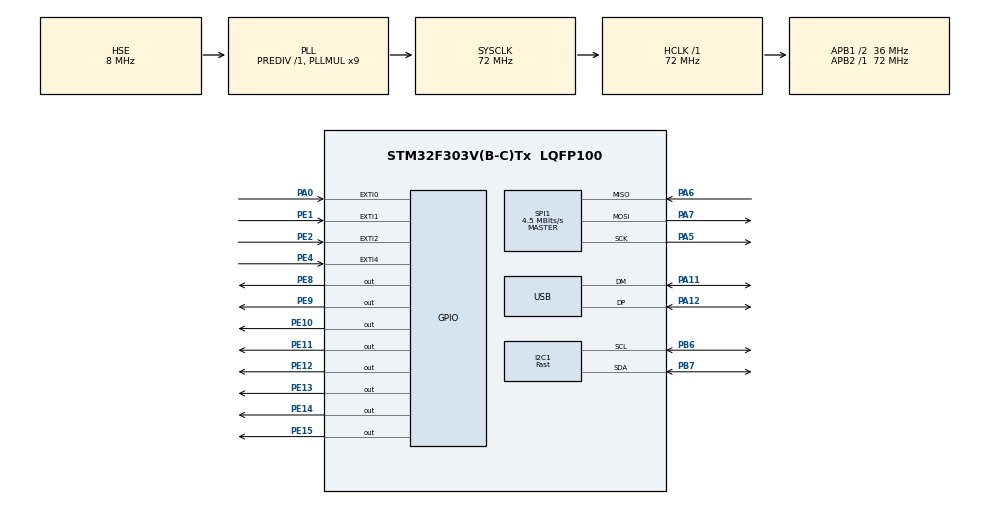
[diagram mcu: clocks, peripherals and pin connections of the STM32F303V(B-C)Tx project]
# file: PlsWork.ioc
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I2C1.I2C_Speed_Mode=I2C_Fast
I2C1.Timing=0x0010020A
Mcu.Family=STM32F3
Mcu.Name=STM32F303V(B-C)Tx
Mcu.Package=LQFP100
NVIC.EXTI0_IRQn=true\:0\:0\:false\:false\:true\:true\:true\:true
NVIC.EXTI1_IRQn=true\:0\:0\:false\:true\:true\:1\:true\:true\:true
NVIC.PriorityGroup=NVIC_PRIORITYGROUP_4
NVIC.USB_LP_CAN_RX0_IRQn=true\:0\:0\:false\:false\:true\:false\:true\:true
PA0.GPIO_ModeDefaultEXTI=GPIO_MODE_IT_FALLING
PA0.GPIO_PuPd=GPIO_PULLDOWN
PA0.Signal=GPXTI0
PA11.Mode=Device
PA11.Signal=USB_DM
PA12.Mode=Device
PA12.Signal=USB_DP
PA13.Mode=Serial_Wire
PA13.Signal=SYS_JTMS-SWDIO
PA14.Mode=Serial_Wire
PA14.Signal=SYS_JTCK-SWCLK
PA5.Mode=Full_Duplex_Master
PA5.Signal=SPI1_SCK
PA6.Mode=Full_Duplex_Master
PA6.Signal=SPI1_MISO
PA7.Mode=Full_Duplex_Master
PA7.Signal=SPI1_MOSI
PB6.Mode=I2C
PB6.Signal=I2C1_SCL
PB7.Mode=I2C
PB7.Signal=I2C1_SDA
PE1.GPIO_ModeDefaultEXTI=GPIO_MODE_IT_RISING
PE1.GPIO_PuPd=GPIO_PULLDOWN
PE1.Signal=GPXTI1
PE10.Signal=GPIO_Output
PE11.Signal=GPIO_Output
PE12.Signal=GPIO_Output
PE13.Signal=GPIO_Output
PE14.Signal=GPIO_Output
PE15.Signal=GPIO_Output
PE2.Signal=GPXTI2
PE4.Signal=GPXTI4
PE8.Signal=GPIO_Output
PE9.Signal=GPIO_Output
PF0-OSC_IN.Mode=HSE-External-Oscillator
PF0-OSC_IN.Signal=RCC_OSC_IN
PF1-OSC_OUT.Mode=HSE-External-Oscillator
PF1-OSC_OUT.Signal=RCC_OSC_OUT
ProjectManager.HeapSize=0x2000
ProjectManager.StackSize=0x4000
ProjectManager.TargetToolchain=STM32CubeIDE
RCC.AHBFreq_Value=72000000
RCC.APB1CLKDivider=RCC_HCLK_DIV2
RCC.APB1Freq_Value=36000000
RCC.APB1TimFreq_Value=72000000
RCC.APB2Freq_Value=72000000
RCC.APB2TimFreq_Value=72000000
RCC.CortexFreq_Value=72000000
RCC.HCLKFreq_Value=72000000
RCC.HSE_VALUE=8000000
RCC.HSI_VALUE=8000000
RCC.LSE_VALUE=32768
RCC.PLLMUL=RCC_PLL_MUL9
RCC.PRESCALERUSB=RCC_USBCLKSOURCE_PLL_DIV1_5
RCC.SYSCLKFreq_VALUE=72000000
RCC.SYSCLKSourceVirtual=RCC_SYSCLKSOURCE_PLLCLK
RCC.USBFreq_Value=48000000
SPI1.BaudRatePrescaler=SPI_BAUDRATEPRESCALER_16
SPI1.CalculateBaudRate=4.5 MBits/s
SPI1.DataSize=SPI_DATASIZE_8BIT
SPI1.Direction=SPI_DIRECTION_2LINES
SPI1.Mode=SPI_MODE_MASTER
SPI1.VirtualType=VM_MASTER
USB_DEVICE.CLASS_NAME_FS=HID
USB_DEVICE.VirtualMode=Hid
USB_DEVICE.VirtualModeFS=Hid_FS
VP_USB_DEVICE_VS_USB_DEVICE_HID_FS.Mode=HID_FS
board=custom

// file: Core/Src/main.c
/* USER CODE BEGIN Header */
/**
  ******************************************************************************
  * @file           : main.c
  * @brief          : Main program body
  ******************************************************************************
  * @attention
  *
  * Copyright (c) 2025 STMicroelectronics.
  * All rights reserved.
  *
  * This software is licensed under terms that can be found in the LICENSE file
  * in the root directory of this software component.
  * If no LICENSE file comes with this software, it is provided AS-IS.
  *
  ******************************************************************************
  */
/* USER CODE END Header */
#include "main.h"
#include "usb_device.h"

/* USER CODE BEGIN Includes */
/*#include "usbd_cdc_if.h"*/
#include "acselLib.h"
#include "usbd_hid.h"
/* USER CODE END Includes */

I2C_HandleTypeDef hi2c1;

SPI_HandleTypeDef hspi1;

/* USER CODE BEGIN PV */
char str1[100]={0};
int16_t AccelData[3];
int16_t GyroData[3];
float roll = 0.0, pitch = 0.0, yaw = 0.0;
int16_t min_xval = 128;
int16_t max_xval = -128;
int16_t min_yval = 128;
int16_t max_yval = -128;
int16_t newxval = 0;
int16_t newyval = 0;
uint8_t button_flag = 0;
float ax_real, ay_real, az_real, vx, vy, vz, x, y, z;
/* USER CODE END PV */

void SystemClock_Config(void);
static void MX_GPIO_Init(void);
static void MX_I2C1_Init(void);
static void MX_SPI1_Init(void);
static void MX_NVIC_Init(void);

/* USER CODE BEGIN 0 */
extern USBD_HandleTypeDef hUsbDeviceFS;

typedef struct
{
	uint8_t button;
	int8_t mouse_x;
	int8_t mouse_y;
	int8_t wheel;
} mouseHID;

mouseHID mousehid = {0,0,0,0};

/* USER CODE END 0 */

int main(void)
{

  /* MCU Configuration--------------------------------------------------------*/

  /* Reset of all peripherals, Initializes the Flash interface and the Systick. */
  HAL_Init();

  /* Configure the system clock */
  SystemClock_Config();

  /* Initialize all configured peripherals */
  MX_GPIO_Init();
  MX_I2C1_Init();
  MX_SPI1_Init();
  MX_USB_DEVICE_Init();

  /* Initialize interrupts */
  MX_NVIC_Init();
  /* USER CODE BEGIN 2 */
  Gyro_Ini();
  Accel_Ini();
  Accel_GetXYZ(AccelData);
  Gyro_GetXYZ(GyroData);
  for (int i=0; i<50; i++)
	{
	    Accel_GetXYZ(AccelData);;
		min_xval = MIN(min_xval, AccelData[0]);
		max_xval = MAX(max_xval, AccelData[0]);
		min_yval = MIN(min_yval, AccelData[1]);
		max_yval = MAX(max_yval, AccelData[1]);
		HAL_Delay (100);
	}
  /* USER CODE END 2 */

  /* Infinite loop */
  /* USER CODE BEGIN WHILE */
  while (1)
  {
	  /*
	  HAL_GPIO_WritePin(GPIOE,GPIO_PIN_11,GPIO_PIN_SET);
	  HAL_GPIO_WritePin(GPIOE,GPIO_PIN_14,GPIO_PIN_RESET);
	  sprintf(str1,"Hi");
	  CDC_Transmit_FS((uint8_t*)str1, strlen(str1));
	  HAL_Delay(500);
	  */
	  Accel_GetXYZ(AccelData);
	  Gyro_GetXYZ(GyroData);
	  GetAngles(AccelData[0],AccelData[1],AccelData[2],GyroData[0], GyroData[1], GyroData[2], &roll, &pitch, &yaw);
	  delete_gravity(AccelData[0], AccelData[1], AccelData[2], roll, pitch,&ax_real,&ay_real,&az_real);
	  integrate_position(AccelData[0], AccelData[1], AccelData[2], &vx, &vy, &vz, &x, &y, &z);
	  sprintf(str1,"X: %06d; Y: %06d; Z: %06d; \n\r", x,y,z);
	  HAL_Delay(50);
	  /*HAL_UART_Transmit(&huart1,(uint8_t*)str1, strlen(str1),0x1000);*/
	  /*CDC_Transmit_FS((uint8_t*)str1, strlen(str1));*/

	  if (AccelData[0] < min_xval)
	   {
			 newxval = AccelData[0] - min_xval;
	   }

	  else if (AccelData[0] > max_xval)
	   {
			 newxval = AccelData[0] - max_xval;
	   }

	  if (AccelData[1] < min_yval)
	  {
			newyval = AccelData[1] - min_yval;
	  }

	  else if (AccelData[1] > max_yval)
	  {
		   newyval = AccelData[1] - max_yval;
	  }

	  if ((newxval > 20) || (newxval <-20))
	  {
		   mousehid.mouse_y = (newxval/3);
	  }

	  else mousehid.mouse_y = 0;
	  if ((newyval > 20) || (newyval <-20))
	  {
		   mousehid.mouse_x= (newyval)/3;
	  }

	  else mousehid.mouse_x = 0;
	  if (button_flag==1)
	  {
		   mousehid.button = 1;
		   USBD_HID_SendReport(&hUsbDeviceFS, &mousehid, sizeof(mousehid));
		   HAL_Delay (50);
		   mousehid.button = 0;

		   USBD_HID_SendReport(&hUsbDeviceFS,&mousehid, sizeof(mousehid));
		   button_flag =0;
	  }

	  USBD_HID_SendReport(&hUsbDeviceFS,&mousehid, sizeof(mousehid));
	  HAL_Delay(10);

	  /*
	  if(AccelData[0] > 1500)
	  {
		  HAL_GPIO_WritePin(GPIOE, GPIO_PIN_11 , GPIO_PIN_SET);
	      if(AccelData[1] > 1500)
	      {
	    	  HAL_GPIO_WritePin(GPIOE, GPIO_PIN_11 , GPIO_PIN_RESET);
	    	  HAL_GPIO_WritePin(GPIOE, GPIO_PIN_12 , GPIO_PIN_SET);
	      }
	      else if(AccelData[1] < -1500)
	      {
	    	  HAL_GPIO_WritePin(GPIOE, GPIO_PIN_11 , GPIO_PIN_RESET);
	    	  HAL_GPIO_WritePin(GPIOE, GPIO_PIN_10 , GPIO_PIN_SET);
	      }
	  }
	  else if(AccelData[0] < -1500)
	  {
		  HAL_GPIO_WritePin(GPIOE, GPIO_PIN_15, GPIO_PIN_SET);
	          if(AccelData[1] > 1500)
	          {
	        	  HAL_GPIO_WritePin(GPIOE, GPIO_PIN_15, GPIO_PIN_RESET);
	        	  HAL_GPIO_WritePin(GPIOE, GPIO_PIN_14 , GPIO_PIN_SET);
	          }
	  else if(AccelData[1] < -1500)

	   {
		  HAL_GPIO_WritePin(GPIOE, GPIO_PIN_15 , GPIO_PIN_RESET);
		  HAL_GPIO_WritePin(GPIOE, GPIO_PIN_8 , GPIO_PIN_SET);
	   }
	   }
	  else
	  {
	          if(AccelData[1] > 1500)
	          {
	        	  HAL_GPIO_WritePin(GPIOE, GPIO_PIN_13 , GPIO_PIN_SET);
	          }

	          else if(AccelData[1] < -1500)
	          {
	        	  HAL_GPIO_WritePin(GPIOE, GPIO_PIN_9 , GPIO_PIN_SET);
	          }
	  }
	  HAL_Delay(500);
	  HAL_GPIO_WritePin(GPIOE, GPIO_PIN_9, GPIO_PIN_RESET);
	  HAL_GPIO_WritePin(GPIOE, GPIO_PIN_15 , GPIO_PIN_RESET);
	  HAL_GPIO_WritePin(GPIOE, GPIO_PIN_11 , GPIO_PIN_RESET);
	  HAL_GPIO_WritePin(GPIOE, GPIO_PIN_8 , GPIO_PIN_RESET);
	  HAL_GPIO_WritePin(GPIOE, GPIO_PIN_13 , GPIO_PIN_RESET);
	  HAL_GPIO_WritePin(GPIOE, GPIO_PIN_14 , GPIO_PIN_RESET);
	  HAL_GPIO_WritePin(GPIOE, GPIO_PIN_12 , GPIO_PIN_RESET);
	  HAL_GPIO_WritePin(GPIOE, GPIO_PIN_10 , GPIO_PIN_RESET);
	  */
    /* USER CODE END WHILE */

  }
}

void SystemClock_Config(void)
{
  RCC_OscInitTypeDef RCC_OscInitStruct = {0};
  RCC_ClkInitTypeDef RCC_ClkInitStruct = {0};
  RCC_PeriphCLKInitTypeDef PeriphClkInit = {0};

  /** Initializes the RCC Oscillators according to the specified parameters
  * in the RCC_OscInitTypeDef structure.
  */
  RCC_OscInitStruct.OscillatorType = RCC_OSCILLATORTYPE_HSI|RCC_OSCILLATORTYPE_HSE;
  RCC_OscInitStruct.HSEState = RCC_HSE_ON;
  RCC_OscInitStruct.HSEPredivValue = RCC_HSE_PREDIV_DIV1;
  RCC_OscInitStruct.HSIState = RCC_HSI_ON;
  RCC_OscInitStruct.HSICalibrationValue = RCC_HSICALIBRATION_DEFAULT;
  RCC_OscInitStruct.PLL.PLLState = RCC_PLL_ON;
  RCC_OscInitStruct.PLL.PLLSource = RCC_PLLSOURCE_HSE;
  RCC_OscInitStruct.PLL.PLLMUL = RCC_PLL_MUL9;
  if (HAL_RCC_OscConfig(&RCC_OscInitStruct) != HAL_OK)
  {
    Error_Handler();
  }

  /** Initializes the CPU, AHB and APB buses clocks
  */
  RCC_ClkInitStruct.ClockType = RCC_CLOCKTYPE_HCLK|RCC_CLOCKTYPE_SYSCLK
                              |RCC_CLOCKTYPE_PCLK1|RCC_CLOCKTYPE_PCLK2;
  RCC_ClkInitStruct.SYSCLKSource = RCC_SYSCLKSOURCE_PLLCLK;
  RCC_ClkInitStruct.AHBCLKDivider = RCC_SYSCLK_DIV1;
  RCC_ClkInitStruct.APB1CLKDivider = RCC_HCLK_DIV2;
  RCC_ClkInitStruct.APB2CLKDivider = RCC_HCLK_DIV1;

  if (HAL_RCC_ClockConfig(&RCC_ClkInitStruct, FLASH_LATENCY_2) != HAL_OK)
  {
    Error_Handler();
  }
  PeriphClkInit.PeriphClockSelection = RCC_PERIPHCLK_USB|RCC_PERIPHCLK_I2C1;
  PeriphClkInit.I2c1ClockSelection = RCC_I2C1CLKSOURCE_HSI;
  PeriphClkInit.USBClockSelection = RCC_USBCLKSOURCE_PLL_DIV1_5;
  if (HAL_RCCEx_PeriphCLKConfig(&PeriphClkInit) != HAL_OK)
  {
    Error_Handler();
  }
}

/**
  * @brief NVIC Configuration.
  * @retval None
  */
static void MX_NVIC_Init(void)
{
  /* EXTI1_IRQn interrupt configuration */
  HAL_NVIC_SetPriority(EXTI1_IRQn, 0, 0);
  HAL_NVIC_EnableIRQ(EXTI1_IRQn);
}

static void MX_I2C1_Init(void)
{

  hi2c1.Instance = I2C1;
  hi2c1.Init.Timing = 0x0010020A;
  hi2c1.Init.OwnAddress1 = 0;
  hi2c1.Init.AddressingMode = I2C_ADDRESSINGMODE_7BIT;
  hi2c1.Init.DualAddressMode = I2C_DUALADDRESS_DISABLE;
  hi2c1.Init.OwnAddress2 = 0;
  hi2c1.Init.OwnAddress2Masks = I2C_OA2_NOMASK;
  hi2c1.Init.GeneralCallMode = I2C_GENERALCALL_DISABLE;
  hi2c1.Init.NoStretchMode = I2C_NOSTRETCH_DISABLE;
  if (HAL_I2C_Init(&hi2c1) != HAL_OK)
  {
    Error_Handler();
  }

  /** Configure Analogue filter
  */
  if (HAL_I2CEx_ConfigAnalogFilter(&hi2c1, I2C_ANALOGFILTER_ENABLE) != HAL_OK)
  {
    Error_Handler();
  }

  /** Configure Digital filter
  */
  if (HAL_I2CEx_ConfigDigitalFilter(&hi2c1, 0) != HAL_OK)
  {
    Error_Handler();
  }

}

static void MX_SPI1_Init(void)
{

  /* SPI1 parameter configuration*/
  hspi1.Instance = SPI1;
  hspi1.Init.Mode = SPI_MODE_MASTER;
  hspi1.Init.Direction = SPI_DIRECTION_2LINES;
  hspi1.Init.DataSize = SPI_DATASIZE_8BIT;
  hspi1.Init.CLKPolarity = SPI_POLARITY_LOW;
  hspi1.Init.CLKPhase = SPI_PHASE_1EDGE;
  hspi1.Init.NSS = SPI_NSS_SOFT;
  hspi1.Init.BaudRatePrescaler = SPI_BAUDRATEPRESCALER_16;
  hspi1.Init.FirstBit = SPI_FIRSTBIT_MSB;
  hspi1.Init.TIMode = SPI_TIMODE_DISABLE;
  hspi1.Init.CRCCalculation = SPI_CRCCALCULATION_DISABLE;
  hspi1.Init.CRCPolynomial = 7;
  hspi1.Init.CRCLength = SPI_CRC_LENGTH_DATASIZE;
  hspi1.Init.NSSPMode = SPI_NSS_PULSE_ENABLE;
  if (HAL_SPI_Init(&hspi1) != HAL_OK)
  {
    Error_Handler();
  }

}

static void MX_GPIO_Init(void)
{
  GPIO_InitTypeDef GPIO_InitStruct = {0};

  /* GPIO Ports Clock Enable */
  __HAL_RCC_GPIOE_CLK_ENABLE();
  __HAL_RCC_GPIOF_CLK_ENABLE();
  __HAL_RCC_GPIOA_CLK_ENABLE();
  __HAL_RCC_GPIOB_CLK_ENABLE();

  /*Configure GPIO pin Output Level */
  HAL_GPIO_WritePin(GPIOE, GPIO_PIN_8|GPIO_PIN_9|GPIO_PIN_10|GPIO_PIN_11
                          |GPIO_PIN_12|GPIO_PIN_13|GPIO_PIN_14|GPIO_PIN_15, GPIO_PIN_RESET);

  /*Configure GPIO pins : PE2 PE4 */
  GPIO_InitStruct.Pin = GPIO_PIN_2|GPIO_PIN_4;
  GPIO_InitStruct.Mode = GPIO_MODE_IT_RISING;
  GPIO_InitStruct.Pull = GPIO_NOPULL;
  HAL_GPIO_Init(GPIOE, &GPIO_InitStruct);

  /*Configure GPIO pin : PA0 */
  GPIO_InitStruct.Pin = GPIO_PIN_0;
  GPIO_InitStruct.Mode = GPIO_MODE_IT_FALLING;
  GPIO_InitStruct.Pull = GPIO_PULLDOWN;
  HAL_GPIO_Init(GPIOA, &GPIO_InitStruct);

  /*Configure GPIO pins : PE8 PE9 PE10 PE11
                           PE12 PE13 PE14 PE15 */
  GPIO_InitStruct.Pin = GPIO_PIN_8|GPIO_PIN_9|GPIO_PIN_10|GPIO_PIN_11
                          |GPIO_PIN_12|GPIO_PIN_13|GPIO_PIN_14|GPIO_PIN_15;
  GPIO_InitStruct.Mode = GPIO_MODE_OUTPUT_PP;
  GPIO_InitStruct.Pull = GPIO_NOPULL;
  GPIO_InitStruct.Speed = GPIO_SPEED_FREQ_LOW;
  HAL_GPIO_Init(GPIOE, &GPIO_InitStruct);

  /*Configure GPIO pin : PE1 */
  GPIO_InitStruct.Pin = GPIO_PIN_1;
  GPIO_InitStruct.Mode = GPIO_MODE_IT_RISING;
  GPIO_InitStruct.Pull = GPIO_PULLDOWN;
  HAL_GPIO_Init(GPIOE, &GPIO_InitStruct);

  /* EXTI interrupt init*/
  HAL_NVIC_SetPriority(EXTI0_IRQn, 0, 0);
  HAL_NVIC_EnableIRQ(EXTI0_IRQn);

}

/* USER CODE BEGIN 4 */
void HAL_GPIO_EXTI_Callback(uint16_t GPIO_Pin)
{
	if(GPIO_Pin == GPIO_PIN_1)
	{
		Gyro_GetXYZ(GyroData);
	}
	if (GPIO_Pin == GPIO_PIN_0)
	{
		button_flag = 1;
	}
}
/* USER CODE END 4 */

void Error_Handler(void)
{
  __disable_irq();
  while (1)
  {
  }
}
